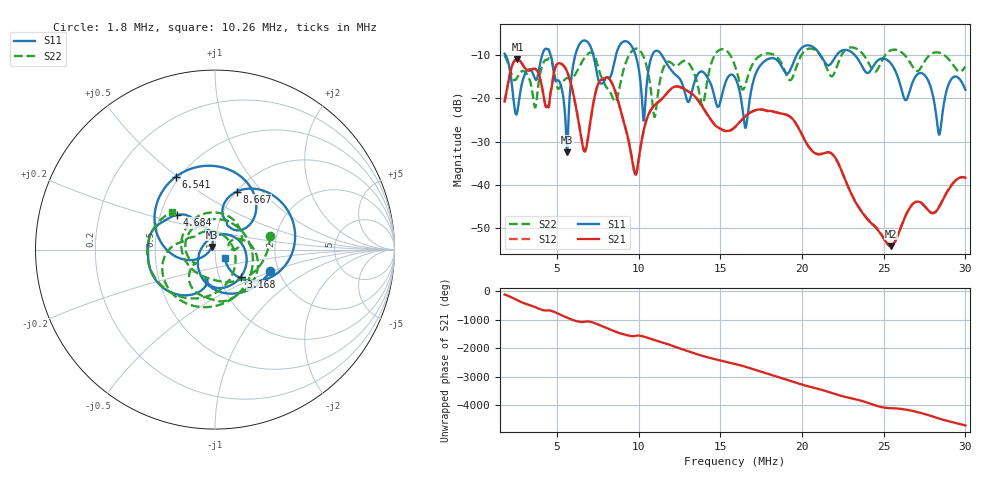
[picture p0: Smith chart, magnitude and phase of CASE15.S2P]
!Agilent Technologies,E5061B,MY49101568,A.02.00
!Date: Wed Mar 01 12:39:31 2023
!Data & Calibration Information:
!Freq	S11:SOLT2(OFF)	S21:SOLT2(OFF)	S12:SOLT2(OFF)	S22:SOLT2(OFF)
# Hz S dB R 50
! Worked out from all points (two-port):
!   1155 points, 1.8 MHz to 30 MHz, reference 50 ohm
!   highest |S21| = -10.86 dB at 2.582 MHz (marker M1); lowest = -54.2 dB at 25.43 MHz (marker M2)
!   |S21| within 3 dB of the highest: 2.147 MHz to 3.837 MHz (1.69 MHz wide, 56.5 % of centre); 4.828 MHz to 5.633 MHz (804.9 kHz wide, 15.4 % of centre)
!   lowest |S11| = -32.5 dB at 5.612 MHz (marker M3), VSWR 1.05, Z = 48.1 + j1.4 ohm
!   |S11| at or under -10 dB: 1.86 MHz to 4.093 MHz (2.233 MHz wide, 75 % of centre); 11.43 MHz to 19.67 MHz (8.233 MHz wide, 52.9 % of centre); 23.25 MHz to end of sweep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
!   |S22| runs from -24.3 to -8.2 dB; largest |S21 - S12| = 0.0082
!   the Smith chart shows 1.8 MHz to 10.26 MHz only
!   S11 on the Smith chart (normalised r, x): 1.8 MHz: 1.81, -0.48; 3.168 MHz: 1.26, -0.40; 4.684 MHz: 0.61, +0.26; 6.541 MHz: 0.48, +0.49; 8.667 MHz: 1.00, +0.73; 10.26 MHz: 1.11, -0.10
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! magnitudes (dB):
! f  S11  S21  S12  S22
! 1.8 MHz  -9.6  -20.7  -20.7  -10.0
! 2.582 MHz  -23.0  -10.9  -10.8  -15.1
! 3.168 MHz  -13.6  -13.4  -13.4  -14.4
! 4.684 MHz  -10.9  -17.4  -17.3  -11.6
! 5.612 MHz  -32.5  -13.7  -13.7  -15.3
! 6.516 MHz  -6.8  -29.7  -29.7  -11.6
! 6.541 MHz  -6.7  -30.3  -30.2  -11.5
! 7.616 MHz  -16.4  -16.0  -16.0  -14.0
! 8.667 MHz  -9.3  -19.5  -19.6  -20.2
! 9.766 MHz  -9.4  -37.4  -37.3  -8.5
! 10.26 MHz  -22.9  -28.4  -28.6  -9.9
! 11.21 MHz  -9.0  -20.9  -20.8  -18.2
! 13.04 MHz  -20.8  -18.3  -18.4  -11.7
! 13.9 MHz  -13.8  -21.9  -21.9  -21.6
! 15.9 MHz  -15.1  -26.6  -26.7  -12.4
! 16.56 MHz  -26.8  -24.0  -24.0  -16.5
! 17.51 MHz  -12.1  -22.5  -22.6  -9.9
! 20.62 MHz  -7.9  -32.2  -32.1  -8.5
! 25.31 MHz  -11.4  -54.1  -54.0  -9.1
! 25.43 MHz  -11.8  -54.2  -54.2  -8.8
! 28.39 MHz  -28.4  -45.2  -45.2  -9.4
! 30 MHz  -18.0  -38.4  -38.4  -12.6
